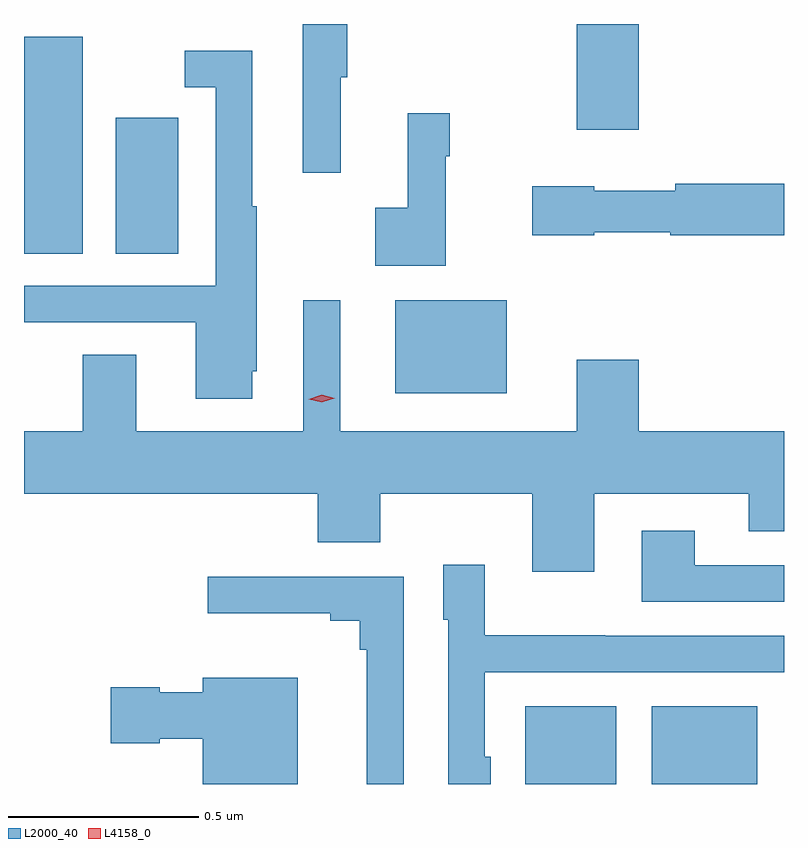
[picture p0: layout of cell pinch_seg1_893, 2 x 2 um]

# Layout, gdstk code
import gdstk
lib = gdstk.Library(unit=1e-6, precision=1e-09)
def R(c, l, rs):  # rectangles x0, y0, x1, y1
    for r in rs: c.add(gdstk.rectangle(r[:2], r[2:], *l))
def P(c, l, *ps):  # polygons
    for p in ps: c.add(gdstk.Polygon(p, *l))
L2000_40 = (2000, 40)
L4158_0 = (4158, 0)

pinch_seg1_893 = lib.new_cell('pinch_seg1_893')
R(pinch_seg1_893, L2000_40, [(464.573,517.668,464.812,517.873), (464.906,517.668,465.184,517.873), (464.231,518.696,464.524,518.941), (463.254,519.064,463.408,519.634), (463.496,519.064,463.66,519.421), (464.708,519.39,464.872,519.668)])
P(pinch_seg1_893, L2000_40, [(464.087,519.528),(464.105,519.528),(464.105,519.668),(463.988,519.668),(463.988,519.276),(464.087,519.276)],
  [(463.855,518.754),(463.867,518.754),(463.867,519.188),(463.855,519.188),(463.855,519.598),(463.677,519.598),(463.677,519.501),(463.758,519.501),(463.758,518.979),(463.254,518.979),(463.254,518.883),(463.706,518.883),(463.706,518.682),(463.855,518.682)],
  [(464.364,519.32),(464.374,519.32),(464.374,519.433),(464.264,519.433),(464.264,519.185),(464.178,519.185),(464.178,519.032),(464.364,519.032)],
  [(464.754,519.12),(464.954,519.12),(464.954,519.112),(465.254,519.112),(465.254,519.248),(464.968,519.248),(464.968,519.229),(464.754,519.229),(464.754,519.241),(464.592,519.241),(464.592,519.112),(464.754,519.112)],
  [(464.755,518.432),(465.161,518.432),(465.161,518.333),(465.254,518.333),(465.254,518.596),(464.872,518.596),(464.872,518.785),(464.708,518.785),(464.708,518.596),(464.086,518.596),(464.086,518.941),(463.989,518.941),(463.989,518.596),(463.549,518.596),(463.549,518.798),(463.409,518.798),(463.409,518.596),(463.254,518.596),(463.254,518.432),(464.027,518.432),(464.027,518.304),(464.191,518.304),(464.191,518.432),(464.591,518.432),(464.591,518.226),(464.755,518.226)],
  [(465.254,518.244),(465.019,518.244),(465.019,518.335),(464.879,518.335),(464.879,518.148),(465.254,518.148)],
  [(464.482,517.74),(464.466,517.74),(464.466,517.962),(465.254,517.962),(465.254,518.058),(464.783,518.058),(464.783,518.059),(464.466,518.059),(464.466,518.245),(464.357,518.245),(464.357,518.1),(464.37,518.1),(464.37,517.668),(464.482,517.668)],
  [(464.253,518.214),(463.737,518.214),(463.737,518.117),(464.06,518.117),(464.06,518.098),(464.137,518.098),(464.137,518.021),(464.156,518.021),(464.156,517.668),(464.253,517.668)],
  [(463.975,517.948),(463.724,517.948),(463.724,517.909),(463.611,517.909),(463.611,517.922),(463.482,517.922),(463.482,517.775),(463.611,517.775),(463.611,517.787),(463.724,517.787),(463.724,517.668),(463.975,517.668)])
P(pinch_seg1_893, L4158_0, [(464.038,518.672),(464.003,518.681),(464.003,518.681),(464.003,518.681),(464.037,518.692),(464.072,518.683),(464.072,518.683),(464.072,518.683)])

lib.write_gds('pinch_seg1_893.gds')
